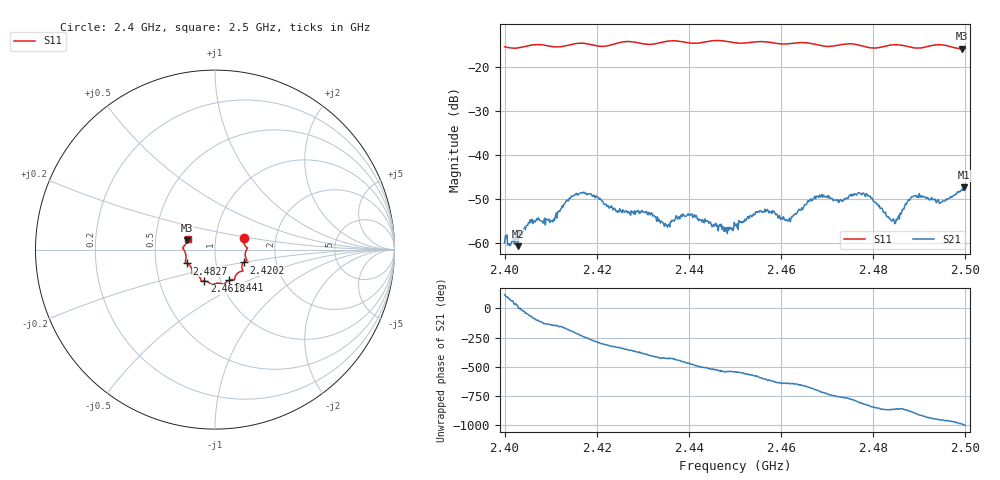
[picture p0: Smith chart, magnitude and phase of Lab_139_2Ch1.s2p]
# Hz S RI R 50
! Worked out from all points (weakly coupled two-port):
!   601 points, 2.4 GHz to 2.5 GHz, reference 50 ohm
!   highest |S21| = -47.42 dB at 2.4997 GHz (marker M1); lowest = -60.8 dB at 2.4028 GHz (marker M2)
!   lowest |S11| = -15.8 dB at 2.4993 GHz (marker M3), VSWR 1.39, Z = 36.5 + j3.8 ohm
!   |S11| at or under -10 dB: start of sweep to end of sweep
!   S12 and S22 are empty: the file has one direction only
!   S11 on the Smith chart (normalised r, x): 2.4 GHz: 1.36, +0.18; 2.4202 GHz: 1.36, -0.20; 2.441 GHz: 1.10, -0.39; 2.4618 GHz: 0.84, -0.30; 2.4827 GHz: 0.72, -0.11; 2.5 GHz: 0.73, +0.09
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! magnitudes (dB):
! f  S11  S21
! 2.4 GHz  -15.3  -60.1
! 2.4028 GHz  -15.6  -60.8
! 2.4055 GHz  -15.0  -54.8
! 2.4103 GHz  -15.3  -54.9
! 2.4167 GHz  -14.5  -48.6
! 2.4202 GHz  -15.2  -49.6
! 2.4333 GHz  -14.5  -55.1
! 2.4353 GHz  -14.1  -56.5
! 2.441 GHz  -14.6  -53.9
! 2.45 GHz  -14.4  -56.0
! 2.455 GHz  -14.2  -53.1
! 2.4618 GHz  -14.6  -54.5
! 2.4667 GHz  -14.6  -50.5
! 2.4775 GHz  -15.1  -49.1
! 2.4827 GHz  -15.2  -53.0
! 2.4833 GHz  -15.0  -54.1
! 2.4852 GHz  -14.9  -54.9
! 2.4888 GHz  -15.6  -49.3
! 2.4948 GHz  -14.9  -50.9
! 2.4993 GHz  -15.8  -47.8
! 2.4997 GHz  -15.8  -47.4
! 2.5 GHz  -15.7  -47.7
